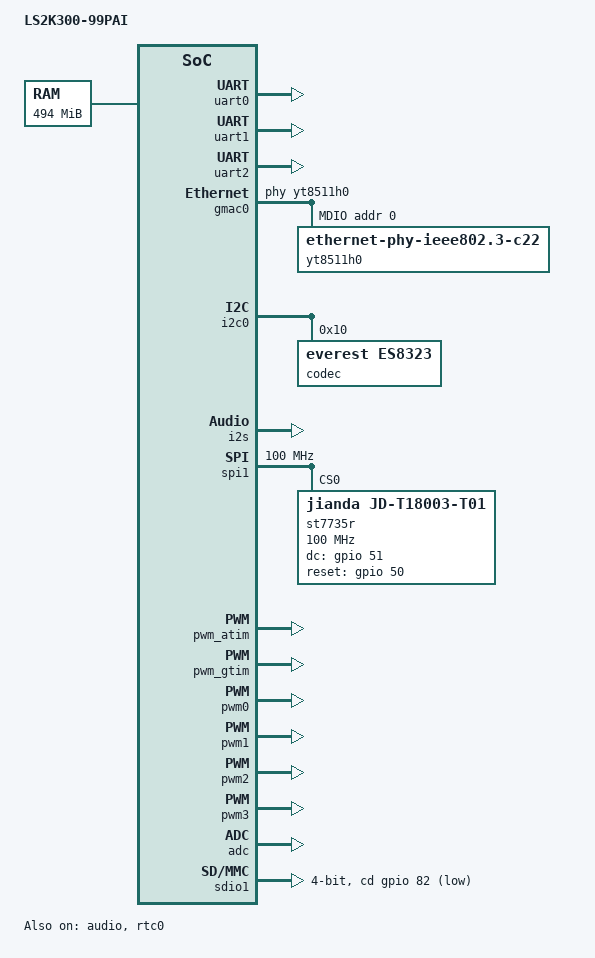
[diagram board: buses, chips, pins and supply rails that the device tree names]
#include <dt-bindings/gpio/gpio.h>
#include <dt-bindings/pwm/pwm.h>
#include <dt-bindings/input/linux-event-codes.h>
#include <dt-bindings/interrupt-controller/irq.h>

#include "loongson2k300.dtsi"
#include "loongson_panel_param.dtsi"

/ {
	model = "LS2K300-99PAI";

	chosen {
		stdout-path = "serial0:115200n8";
		bootargs = "earlycon";
	};

	/* not need memory node, we get memory info from boot params. */
	memory {
		name = "memory";
		device_type = "memory";
		reg =  <0 0x00200000 0 0x0ee00000
			0 0x90000000 0 0x10000000>;
	};

	reserved-memory {
		#address-cells = <2>;
		#size-cells = <2>;
		ranges;

		linux,cma {
			compatible = "shared-dma-pool";
			reusable;
			size = <0 0x02000000>;
			linux,cma-default;
		};
	};
};

&uart0 {
	status = "okay";
	clock-frequency = <100000000>;
};

&uart1 {
	status = "okay";
	clock-frequency = <100000000>;
};

&uart2 {
	status = "okay";
	clock-frequency = <100000000>;
};

&gmac0 {
	status = "okay";
	phy-handle = <&yt8511h0>;
	mdio {
		compatible = "snps,dwmac-mdio";
		#address-cells = <1>;
		#size-cells = <0>;

		yt8511h0: ethernet-phy@0 {
			compatible = "ethernet-phy-ieee802.3-c22";
			reg = <0>;
			motorcomm,led0_cfg = <0x40>; //千兆常亮
			motorcomm,led1_cfg = <0x30>; //百兆 十兆常亮
			motorcomm,led2_cfg = <0x2600>; //有数据时闪烁
		};
	};
};

&i2c0 {
	status = "okay";

	codec: @10 {
		compatible = "everest,es8323";
		reg = <0x10>;
	};

	touchpad: gt9147@14 {
		status = "disabled";
		compatible = "goodix,gt9147";
		reg = <0x14>;
		// 2K300 GPIO 支持中断控制
		// GPIO 中断号为 vhwirq-base + pinnum (180 = 128 + 52)
		interrupt-parent = <&gpio>;
		interrupts = <180 IRQ_TYPE_EDGE_FALLING>;
		irq-gpios = <&gpio 52 GPIO_ACTIVE_LOW>;
		reset-gpios = <&gpio 53 GPIO_ACTIVE_LOW>;

		goodix,type-a-report = <0>;
		goodix,driver-send-cfg = <0>;
		goodix,create-wr-node = <1>;
		goodix,wakeup-with-reset = <0>;
		goodix,resume-in-workqueue = <0>;
		goodix,int-sync = <1>;
		goodix,swap-x2y = <0>;
		goodix,esd-protect = <0>;
		goodix,auto-update = <1>;
		goodix,auto-update-cfg = <0>;
		goodix,power-off-sleep = <0>;
		goodix.pen-suppress-finger = <0>;
		goodix,cfg-group0 = [
			53 D0 02 00 05 05 F5 D5 21 48 2D 0F 5A 41 0E 05 00 00 32
			32 20 00 05 14 14 1A 14 8B 2B 00
		];
	};
};

&i2c1 {
	status = "disabled";
};

&i2c3 {
	status = "disabled";
};

&i2s {
	status = "okay";
};

&audio {
	status = "okay";
};

&spi0 {
	status = "disabled";
	pinctrl-names = "default";
	pinctrl-0 = <&spi0_pins>;

	spi-flash@0 {
		compatible = "jedec,spi-nor";
		spi-max-frequency = <25000000>;
		reg = <0>;
	};
};

&spi1 {
	status = "okay";
	clock-frequency = <100000000>;

    st7735r@0{ // Use TinyDRM Driver
        status = "okay";
        compatible = "jianda,jd-t18003-t01";
        reg = <0>;
        spi-max-frequency = <100000000>;
        rotation = <90>;
        dc-gpios = <&gpio 51 GPIO_ACTIVE_HIGH>;
        reset-gpios = <&gpio 50 GPIO_ACTIVE_HIGH>;
    };

	st7789v@0{ // Use TinyDRM Driver
        status = "disabled";
		compatible = "sitronix,st7789v_240x320";
		reg = <0>;
		spi-max-frequency = <100000000>;
		rotation = <90>;
        dc-gpios = <&gpio 51 GPIO_ACTIVE_HIGH>;
        reset-gpios = <&gpio 50 GPIO_ACTIVE_HIGH>;
	};
};

&spi2 {
	status = "disabled";
};

&pwm_atim {
	status = "okay";
	clock-frequency = <100000000>;
};

&pwm_gtim {
	status = "okay";
	clock-frequency = <100000000>;
};

&pwm0 {
	status = "okay";
	clock-frequency = <100000000>;
};

&pwm1 {
	status = "okay";
	clock-frequency = <100000000>;
};

&pwm2 {
	status = "okay";
	clock-frequency = <100000000>;
};

&pwm3 {
	status = "okay";
	clock-frequency = <100000000>;
};

&can2 {
	status = "disabled";
};

&can3 {
	status = "disabled";
};

&adc {
	status = "okay";
};

&rtc0 {
	status = "okay";
};

&sdio1 {
	pinctrl-0 = <&sdio1_pins>;
	pinctrl-names = "default";
	cap-sd-highspeed;
	cap-mmc-highspeed;
	bus-width = <4>;
	cd-gpios = <&gpio 82 GPIO_ACTIVE_LOW>;
	status = "okay";
};

&dc {
	status = "disabled";
};

&tsensor {
	status = "disabled";
};
